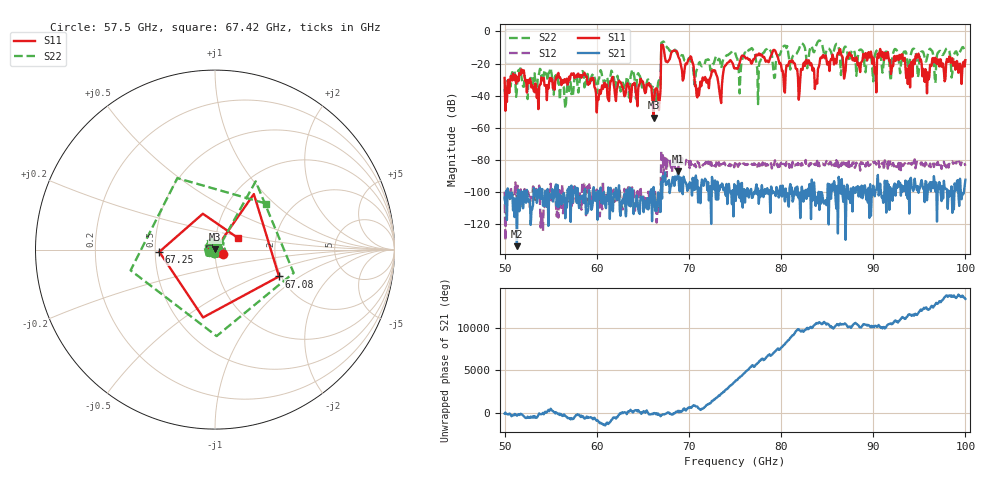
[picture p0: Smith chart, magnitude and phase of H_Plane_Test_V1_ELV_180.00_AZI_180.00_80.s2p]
! 11/27/2026 8:55:43 AM
! C:\ANRITSUVNA\TEMP\TEMP.S2P
! CHANNEL.1
! TR.MEASUREMENT
! RAW.DATA
# HZ S RI R 50.0
! FREQ.HZ  S11RE  S11IM  S21RE  S21IM  S12RE  S12IM  S22RE  S22IM
!; PortSelection: Port_12
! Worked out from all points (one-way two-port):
!   601 points, 50 GHz to 100 GHz, reference 50 ohm
!   highest |S21| = -87.31 dB at 68.83 GHz (marker M1); lowest = -134.0 dB at 51.33 GHz (marker M2)
!   lowest |S11| = -53.8 dB at 66.17 GHz (marker M3), VSWR 1.00, Z = 50.1 + j0.15 ohm
!   |S11| at or under -10 dB: start of sweep to 67 GHz; 67.24 GHz to end of sweep
!   |S22| runs from -48.0 to -5.6 dB; largest |S21 - S12| = 0.00018
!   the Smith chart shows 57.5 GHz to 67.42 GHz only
!   S11 on the Smith chart (normalised r, x): 57.5 GHz: 1.09, -0.05; 67.08 GHz: 1.95, -0.69; 67.25 GHz: 0.53, -0.01; 67.42 GHz: 1.29, +0.17
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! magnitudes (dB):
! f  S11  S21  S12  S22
! 50 GHz  -29.0  -103.7  -100.0  -35.7
! 51.33 GHz  -30.1  -134.0  -105.5  -36.5
! 57.5 GHz  -26.1  -99.1  -103.7  -34.5
! 58.42 GHz  -27.1  -103.2  -95.7  -24.7
! 60.17 GHz  -42.8  -99.4  -101.3  -30.3
! 66.17 GHz  -53.8  -97.1  -102.6  -34.0
! 66.67 GHz  -41.8  -100.4  -103.3  -31.6
! 67.08 GHz  -8.2  -104.3  -79.8  -6.8
! 67.25 GHz  -10.2  -93.5  -89.3  -6.3
! 67.42 GHz  -16.8  -87.9  -83.3  -8.3
! 68.83 GHz  -15.5  -87.3  -88.8  -15.1
! 70.25 GHz  -16.0  -96.2  -83.4  -18.7
! 70.92 GHz  -41.1  -92.9  -81.1  -23.1
! 75 GHz  -23.1  -97.4  -82.2  -13.0
! 79.25 GHz  -11.4  -100.6  -83.5  -29.0
! 80.25 GHz  -27.9  -99.0  -82.8  -9.3
! 83.42 GHz  -24.4  -105.6  -83.4  -10.9
! 91.67 GHz  -16.6  -95.4  -81.1  -15.3
! 93.75 GHz  -32.8  -104.3  -82.5  -21.5
! 94.83 GHz  -14.9  -96.4  -81.8  -28.7
! 95.83 GHz  -38.6  -105.3  -84.3  -16.6
! 100 GHz  -17.9  -92.6  -83.7  -12.6
